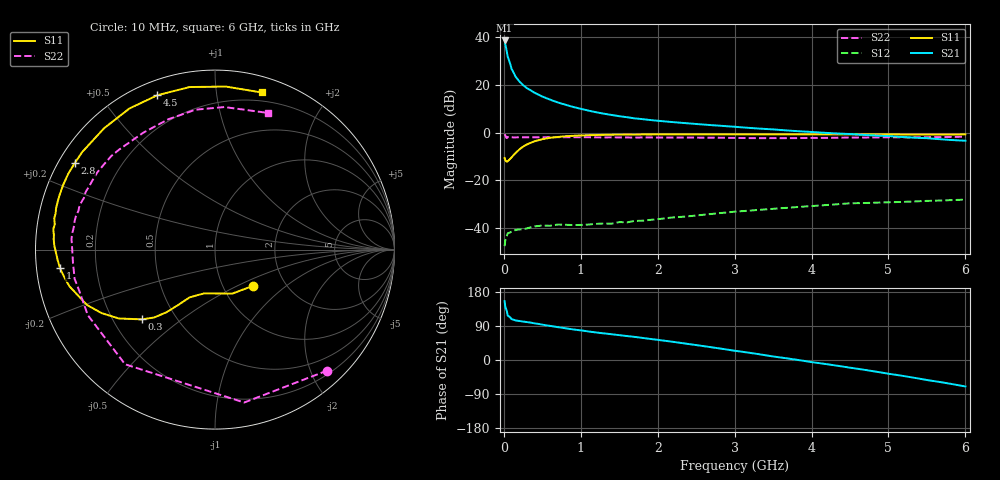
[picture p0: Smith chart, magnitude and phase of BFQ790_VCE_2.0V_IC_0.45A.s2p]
! Infineon Technologies  Discrete & RF Semiconductors
! BFQ790
! VCE =  2.0 V,  IC = 0.45 A
! Common Emitter S-Parameters:  May 2015
# GHz  S  MA  R  50
!  f  S11  S21  S12  S22
! GHz  MAG  ANG  MAG  ANG  MAG  ANG  MAG  ANG
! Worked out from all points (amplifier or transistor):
!   77 points, 10 MHz to 6 GHz, reference 50 ohm
!   highest |S21| = 38.5 dB at 10 MHz (marker M1)
!   |S21| within 3 dB of that: start of sweep to 28.31 MHz
!   unconditionally stable (mu >= 1): 136.8 MHz to end of sweep
!   at 130 MHz: K = 0.97, MSG = 33.0 dB, |S12| = -41.1 dB
!   at 2.2 GHz: K = 1.43, MAG = 16.0 dB, |S12| = -35.5 dB
!   at 6 GHz: K = 1.18, MAG = 9.7 dB, |S12| = -28.0 dB
!   S11 on the Smith chart (normalised r, x): 10 MHz: 1.38, -0.61; 300 MHz: 0.32, -0.36; 1 GHz: 0.07, -0.06; 2.8 GHz: 0.05, +0.28; 4.5 GHz: 0.06, +0.69; 6 GHz: 0.13, +1.33
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0.01  0.2927 -43.6  84.28 155.4  0.0042 66.3  0.9197 -47.1
0.02  0.2636 -68.6  68.72 139.3  0.0057 48.1  0.8674 -79.2
0.05  0.2508 -103.7  38.7 117.3  0.0078 28.3  0.8119 -128.1
0.1  0.3014 -118.0  21.44 107.8  0.0084 17.7  0.7972 -152.7
0.15  0.3688 -123.5  14.99 104.5  0.0091 21.8  0.7906 -163.2
0.2  0.4409 -127.7  11.79 103.0  0.0094 22.5  0.799 -168.3
0.25  0.5085 -131.9  9.824 101.4  0.0094 17.5  0.795 -171.9
0.3  0.5638 -136.4  8.459 100.1  0.0099 14.2  0.7947 -174.7
0.4  0.6582 -144.3  6.773 96.7  0.0109 17.4  0.7948 -178.8
0.5  0.7246 -150.8  5.659 93.3  0.0114 13.4  0.7974 178.3
0.6  0.777 -156.6  4.884 90.0  0.0112 14.2  0.8017 175.7
0.8  0.8361 -165.8  3.818 83.7  0.0118 13.5  0.7973 171.8
1  0.8694 -173.1  3.138 78.2  0.0117 14.2  0.798 168.4
1.1  0.879 -176.3  2.874 75.3  0.0119 16.7  0.797 166.7
1.5  0.9017 174.7  2.196 65.6  0.0134 17.7  0.7912 161.1
2.1  0.9158 163.4  1.705 50.6  0.0161 20.0  0.7843 152.2
2.8  0.9181 148.3  1.391 30.6  0.0206 14.4  0.7783 137.9
3.1  0.9148 141.4  1.282 21.7  0.0227 10.0  0.7674 131.3
4.1  0.9166 119.1  1.003 -8.3  0.0297 -5.2  0.7717 107.5
4.5  0.9179 110.5  0.93 -20.3  0.0331 -13.0  0.787 98.0
5.1  0.9118 96.4  0.822 -39.2  0.0351 -26.4  0.7945 84.3
6  0.9132 73.5  0.674 -69.9  0.0396 -47.5  0.8165 68.8
